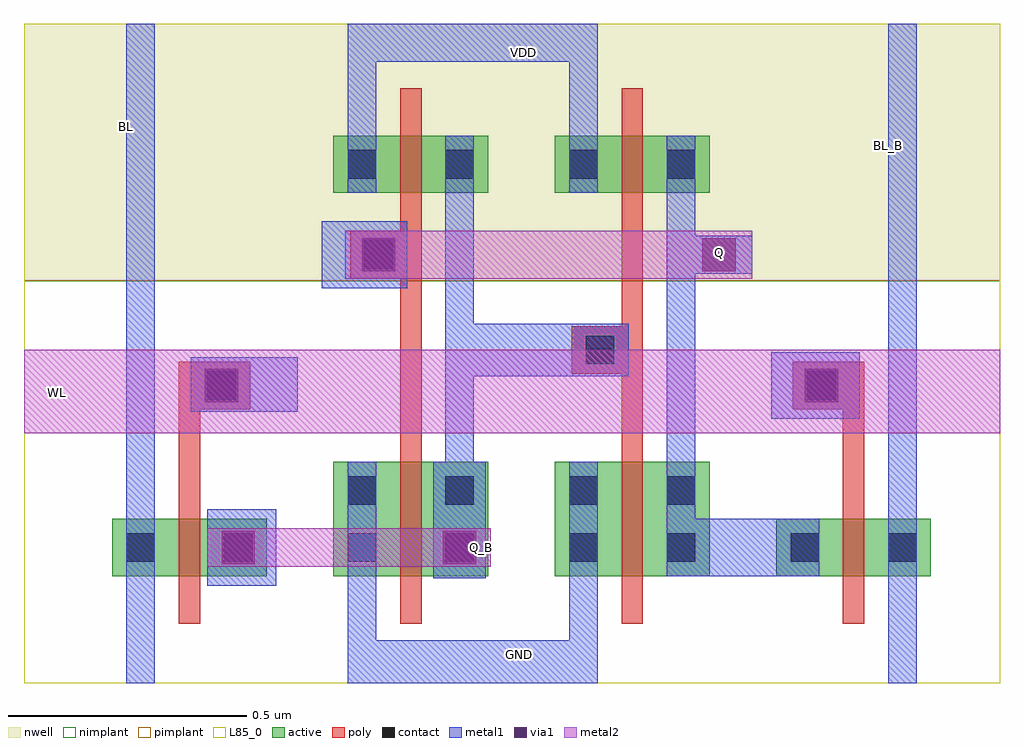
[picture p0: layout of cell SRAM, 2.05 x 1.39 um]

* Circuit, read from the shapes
.subckt SRAM BL BL_B GND Q Q_B VDD WL
M1 Q_B WL BL VSUBS nfet w=0.12u l=0.045u
M2 Q_B Q GND VSUBS nfet w=0.24u l=0.045u
M3 Q Q_B GND VSUBS nfet w=0.24u l=0.045u
M4 BL_B WL Q VSUBS nfet w=0.12u l=0.045u
M5 Q_B Q VDD n1 pfet w=0.12u l=0.045u
M6 Q Q_B VDD n1 pfet w=0.12u l=0.045u
.ends

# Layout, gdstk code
import gdstk
lib = gdstk.Library(unit=1e-6, precision=5e-10)
def R(c, l, rs):  # rectangles x0, y0, x1, y1
    for r in rs: c.add(gdstk.rectangle(r[:2], r[2:], *l))
active = (1, 0)
nwell = (2, 0)
poly = (3, 0)
nimplant = (4, 0)
pimplant = (5, 0)
contact = (6, 0)
metal1 = (7, 0)
via1 = (8, 0)
metal2 = (9, 0)
L85_0 = (85, 0)

nmos1v_cdns_700495123070 = lib.new_cell('nmos1v_CDNS_700495123070')
R(nmos1v_cdns_700495123070, active, [(-0.14,0,0,0.12), (0,0,0.045,0.12), (0.045,0,0.185,0.12)])
R(nmos1v_cdns_700495123070, poly, [(0,-0.1,0.045,-0.05), (0,-0.05,0.045,0), (0,0,0.045,0.12), (0,0.12,0.045,0.17), (0,0.17,0.045,0.22)])
R(nmos1v_cdns_700495123070, nimplant, [(-0.1,-0.1,0.145,0.22), (-0.21,-0.07,0.255,0.19)])
R(nmos1v_cdns_700495123070, contact, [(-0.11,0.03,-0.05,0.09), (0.095,0.03,0.155,0.09)])
R(nmos1v_cdns_700495123070, metal1, [(-0.11,0,-0.05,0.12), (0.095,0,0.155,0.12)])
R(nmos1v_cdns_700495123070, L85_0, [(-0.2,-0.06,0.245,0.18)])

nmos1v_cdns_700495123071 = lib.new_cell('nmos1v_CDNS_700495123071')
R(nmos1v_cdns_700495123071, active, [(-0.14,0,0,0.24), (0,0,0.045,0.24), (0.045,0,0.185,0.24)])
R(nmos1v_cdns_700495123071, poly, [(0,-0.1,0.045,-0.05), (0,-0.05,0.045,0), (0,0,0.045,0.24), (0,0.24,0.045,0.29), (0,0.29,0.045,0.34)])
R(nmos1v_cdns_700495123071, nimplant, [(-0.1,-0.1,0.145,0.34), (-0.21,-0.07,0.255,0.31)])
R(nmos1v_cdns_700495123071, contact, [(-0.11,0.03,-0.05,0.09), (0.095,0.03,0.155,0.09), (-0.11,0.15,-0.05,0.21), (0.095,0.15,0.155,0.21)])
R(nmos1v_cdns_700495123071, metal1, [(-0.11,0,-0.05,0.24), (0.095,0,0.155,0.24)])
R(nmos1v_cdns_700495123071, L85_0, [(-0.2,-0.06,0.245,0.3)])

pmos1v_cdns_700495123072 = lib.new_cell('pmos1v_CDNS_700495123072')
R(pmos1v_cdns_700495123072, active, [(-0.14,0,0,0.12), (0,0,0.045,0.12), (0.045,0,0.185,0.12)])
R(pmos1v_cdns_700495123072, nwell, [(-0.2,-0.06,0.245,0.18)])
R(pmos1v_cdns_700495123072, poly, [(0,-0.1,0.045,-0.05), (0,-0.05,0.045,0), (0,0,0.045,0.12), (0,0.12,0.045,0.17), (0,0.17,0.045,0.22)])
R(pmos1v_cdns_700495123072, pimplant, [(-0.1,-0.1,0.145,0.22), (-0.21,-0.07,0.255,0.19)])
R(pmos1v_cdns_700495123072, contact, [(-0.11,0.03,-0.05,0.09), (0.095,0.03,0.155,0.09)])
R(pmos1v_cdns_700495123072, metal1, [(-0.11,0,-0.05,0.12), (0.095,0,0.155,0.12)])

sram = lib.new_cell('SRAM')
R(sram, nwell, [(-1.045,0.72,1.005,1.26)])
R(sram, poly, [(-0.72,0.32,-0.675,0.55), (0.675,0.32,0.72,0.55), (-0.255,0.44,-0.21,0.81), (0.21,0.44,0.255,0.805), (-0.675,0.45,-0.57,0.55), (0.57,0.45,0.675,0.55), (0.105,0.525,0.21,0.625), (-0.36,0.725,-0.255,0.825)])
R(sram, nimplant, [(-1.045,-0.125,1.005,0.72)])
R(sram, pimplant, [(-1.045,0.72,1.005,1.26)])
R(sram, contact, [(-0.66,0.47,-0.6,0.53), (0.6,0.47,0.66,0.53), (0.135,0.545,0.195,0.605), (-0.33,0.745,-0.27,0.805)])
R(sram, metal1, [(-0.83,-0.125,-0.77,1.26), (-0.365,-0.125,-0.305,0.1), (-0.305,-0.125,0.1,-0.035), (0.1,-0.125,0.16,0.1), (0.77,-0.125,0.83,1.26), (-0.66,0.08,-0.515,0.24), (-0.185,0.095,-0.075,0.34), (0.525,0.43,0.71,0.57), (-0.695,0.445,-0.47,0.56), (-0.1,0.52,0.225,0.63), (-0.42,0.705,-0.24,0.845), (0.365,0.735,0.485,0.815), (-0.365,1.025,-0.305,1.26), (0.1,1.025,0.16,1.26), (-0.305,1.18,0.1,1.26), (-0.83,1.19,-0.77,1.26), (0.77,1.21,0.83,1.26)])
R(sram, via1, [(-0.63,0.125,-0.56,0.195), (-0.165,0.125,-0.095,0.195), (-0.665,0.465,-0.595,0.535), (0.595,0.465,0.665,0.535), (-0.335,0.74,-0.265,0.81), (0.38,0.74,0.45,0.81)])
R(sram, metal2, [(-0.66,0.12,-0.065,0.2), (-0.16,0.13,-0.1,0.19), (-1.045,0.4,1.005,0.575), (-1.045,0.4,-0.995,0.575), (-0.37,0.725,0.485,0.825), (0.39,0.745,0.425,0.79)])
R(sram, L85_0, [(-1.045,-0.125,1.005,1.26)])
sram.add(gdstk.FlexPath([(-0.13,0.905),(-0.13,0.34)], 0.06, ends="flush", simple_path=True, layer=7, datatype=0))  # metal1
sram.add(gdstk.FlexPath([(0.335,0.905),(0.335,0.34)], 0.06, ends="flush", simple_path=True, layer=7, datatype=0))  # metal1
sram.add(gdstk.FlexPath([(0.565,0.16),(0.365,0.16)], 0.12, ends="flush", simple_path=True, layer=7, datatype=0))  # metal1
sram.add(gdstk.Reference(nmos1v_cdns_700495123070, (0.675,0.1)))
sram.add(gdstk.Reference(nmos1v_cdns_700495123070, (-0.72,0.1)))
sram.add(gdstk.Reference(nmos1v_cdns_700495123071, (0.21,0.1)))
sram.add(gdstk.Reference(nmos1v_cdns_700495123071, (-0.255,0.1)))
sram.add(gdstk.Reference(pmos1v_cdns_700495123072, (0.21,0.905)))
sram.add(gdstk.Reference(pmos1v_cdns_700495123072, (-0.255,0.905)))
sram.add(gdstk.Label('GND', (-0.005,-0.065), layer=7, texttype=0))
sram.add(gdstk.Label('VDD', (0.005,1.2), layer=7, texttype=0))
sram.add(gdstk.Label('BL', (-0.83,1.045), layer=7, texttype=0))
sram.add(gdstk.Label('BL_B', (0.77,1.005), layer=7, texttype=0))
sram.add(gdstk.Label('WL', (-0.975,0.485), layer=9, texttype=0))
sram.add(gdstk.Label('Q', (0.415,0.78), layer=9, texttype=0))
sram.add(gdstk.Label('Q_B', (-0.085,0.16), layer=9, texttype=0))

lib.write_gds('SRAM.gds')
